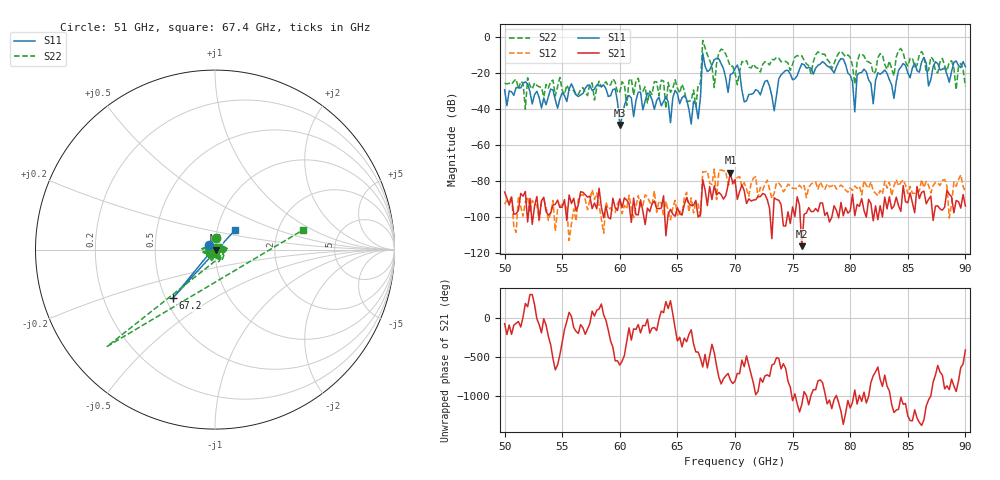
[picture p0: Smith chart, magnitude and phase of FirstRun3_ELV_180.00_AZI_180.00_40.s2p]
! 11/24/2026 3:44:38 PM
! C:\ANRITSUVNA\TEMP\TEMP.S2P
! CHANNEL.1
! TR.MEASUREMENT
! RAW.DATA
# HZ S RI R 50.0
! FREQ.HZ  S11RE  S11IM  S21RE  S21IM  S12RE  S12IM  S22RE  S22IM
!; PortSelection: Port_12
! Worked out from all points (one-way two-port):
!   201 points, 50 GHz to 90 GHz, reference 50 ohm
!   highest |S21| = -75.47 dB at 69.6 GHz (marker M1); lowest = -116.3 dB at 75.8 GHz (marker M2)
!   lowest |S11| = -48.9 dB at 60 GHz (marker M3), VSWR 1.01, Z = 50.3 - j0.164 ohm
!   |S11| at or under -10 dB: start of sweep to 67.19 GHz; 67.23 GHz to end of sweep
!   |S22| runs from -40.1 to -1.9 dB; largest |S21 - S12| = 0.00023
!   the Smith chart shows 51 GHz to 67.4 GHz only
!   S11 on the Smith chart (normalised r, x): 51 GHz: 0.94, +0.05; 67.2 GHz: 0.54, -0.34; 67.4 GHz: 1.22, +0.27
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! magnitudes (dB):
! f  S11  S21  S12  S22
! 50 GHz  -29.3  -86.2  -93.0  -25.6
! 51 GHz  -28.0  -98.3  -108.6  -23.4
! 51.8 GHz  -24.9  -85.9  -91.7  -40.1
! 56.8 GHz  -31.4  -86.3  -87.5  -28.1
! 59.6 GHz  -28.8  -95.1  -97.6  -25.0
! 60 GHz  -48.9  -90.0  -90.9  -30.5
! 63.4 GHz  -33.4  -95.5  -91.2  -32.6
! 66.8 GHz  -45.4  -100.2  -93.0  -26.5
! 67.2 GHz  -8.9  -79.4  -74.9  -1.9
! 67.4 GHz  -16.1  -84.9  -75.0  -5.9
! 68.2 GHz  -12.5  -82.7  -73.4  -28.0
! 68.8 GHz  -14.8  -87.7  -73.9  -6.7
! 69.6 GHz  -20.7  -75.5  -81.5  -16.4
! 70 GHz  -17.4  -79.3  -80.9  -19.9
! 73.4 GHz  -41.0  -89.4  -87.0  -12.6
! 75.8 GHz  -14.8  -116.3  -84.0  -10.5
! 76.8 GHz  -20.6  -97.1  -81.0  -13.6
! 79.4 GHz  -12.2  -99.4  -83.5  -9.4
! 80.4 GHz  -41.6  -99.4  -82.8  -26.2
! 80.6 GHz  -21.0  -93.1  -84.1  -14.0
! 83.4 GHz  -23.7  -88.9  -80.7  -13.3
! 90 GHz  -16.4  -94.0  -86.0  -27.4
